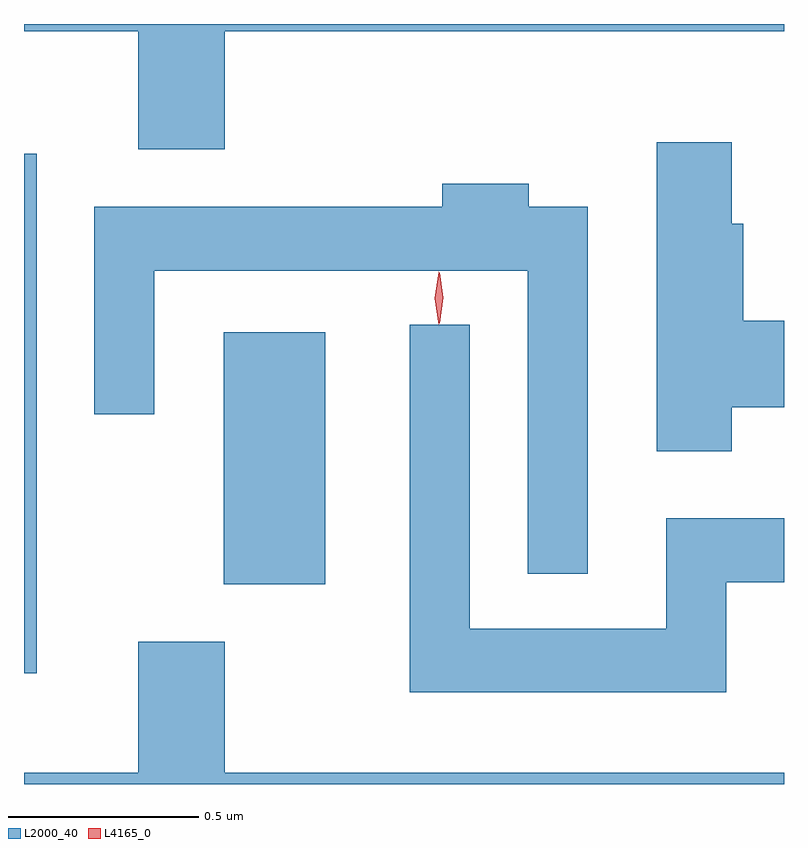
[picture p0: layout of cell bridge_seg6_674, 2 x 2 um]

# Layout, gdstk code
import gdstk
lib = gdstk.Library(unit=1e-6, precision=1e-09)
def R(c, l, rs):  # rectangles x0, y0, x1, y1
    for r in rs: c.add(gdstk.rectangle(r[:2], r[2:], *l))
def P(c, l, *ps):  # polygons
    for p in ps: c.add(gdstk.Polygon(p, *l))
L2000_40 = (2000, 40)
L4165_0 = (4165, 0)

bridge_seg6_674 = lib.new_cell('bridge_seg6_674')
R(bridge_seg6_674, L2000_40, [(396.411,1666.006,396.444,1667.373), (396.936,1666.241,397.204,1666.904)])
P(bridge_seg6_674, L2000_40, [(396.411,1667.696),(396.711,1667.696),(396.711,1667.386),(396.939,1667.386),(396.939,1667.696),(398.411,1667.696),(398.411,1667.715),(396.411,1667.715)],
  [(398.274,1666.706),(398.411,1666.706),(398.411,1666.934),(398.304,1666.934),(398.304,1667.189),(398.274,1667.189),(398.274,1667.404),(398.076,1667.404),(398.076,1666.591),(398.274,1666.591)],
  [(397.894,1667.234),(397.739,1667.234),(397.739,1667.294),(397.511,1667.294),(397.511,1667.234),(396.596,1667.234),(396.596,1666.688),(396.754,1666.688),(396.754,1667.066),(397.736,1667.066),(397.736,1666.268),(397.894,1666.268)],
  [(398.259,1666.246),(398.411,1666.246),(398.411,1666.414),(398.101,1666.414),(398.101,1666.124),(397.584,1666.124),(397.584,1666.923),(397.426,1666.923),(397.426,1665.956),(398.259,1665.956)],
  [(398.411,1665.744),(396.939,1665.744),(396.939,1666.089),(396.711,1666.089),(396.711,1665.744),(396.411,1665.744),(396.411,1665.715),(398.411,1665.715)])
P(bridge_seg6_674, L4165_0, [(397.502,1666.924),(397.502,1666.924),(397.492,1666.993),(397.502,1667.062),(397.502,1667.063),(397.503,1667.062),(397.512,1666.993),(397.503,1666.924)],
  [(397.504,1666.927),(397.504,1666.927),(397.494,1666.994),(397.504,1667.06),(397.504,1667.06),(397.505,1667.06),(397.514,1666.994),(397.505,1666.927)])

lib.write_gds('bridge_seg6_674.gds')
